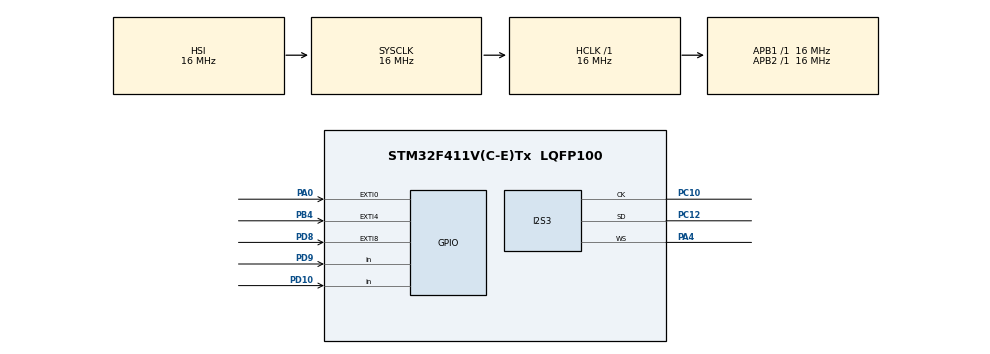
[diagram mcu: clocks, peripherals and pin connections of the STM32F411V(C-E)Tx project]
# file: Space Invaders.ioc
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Dma.Request0=SPI3_TX
Dma.SPI3_TX.0.Direction=DMA_MEMORY_TO_PERIPH
Dma.SPI3_TX.0.FIFOMode=DMA_FIFOMODE_DISABLE
Dma.SPI3_TX.0.Instance=DMA1_Stream5
Dma.SPI3_TX.0.MemDataAlignment=DMA_MDATAALIGN_HALFWORD
Dma.SPI3_TX.0.MemInc=DMA_MINC_ENABLE
Dma.SPI3_TX.0.Mode=DMA_NORMAL
Dma.SPI3_TX.0.PeriphDataAlignment=DMA_PDATAALIGN_HALFWORD
Dma.SPI3_TX.0.PeriphInc=DMA_PINC_DISABLE
Dma.SPI3_TX.0.Priority=DMA_PRIORITY_LOW
I2S3.ErrorAudioFreq=0.0 %
I2S3.FullDuplexMode=I2S_FULLDUPLEXMODE_DISABLE
I2S3.Instance=SPI$Index
I2S3.RealAudioFreq=8.0 KHz
I2S3.VirtualMode=I2S_MODE_MASTER
Mcu.Family=STM32F4
Mcu.Name=STM32F411V(C-E)Tx
Mcu.Package=LQFP100
NVIC.DMA1_Stream5_IRQn=true\:0\:0\:false\:false\:true\:false\:true
NVIC.EXTI0_IRQn=true\:0\:0\:false\:false\:true\:true\:true
NVIC.EXTI4_IRQn=true\:0\:0\:false\:false\:true\:true\:true
NVIC.EXTI9_5_IRQn=true\:0\:0\:false\:false\:true\:true\:true
NVIC.PriorityGroup=NVIC_PRIORITYGROUP_4
PA0-WKUP.Signal=GPXTI0
PA4.Mode=Half_Duplex_Master
PA4.Signal=I2S3_WS
PB4.Signal=GPXTI4
PC10.Mode=Half_Duplex_Master
PC10.Signal=I2S3_CK
PC12.Mode=Half_Duplex_Master
PC12.Signal=I2S3_SD
PD10.Signal=GPIO_Input
PD8.Signal=GPXTI8
PD9.Signal=GPIO_Input
ProjectManager.HeapSize=0x200
ProjectManager.StackSize=0x400
ProjectManager.TargetToolchain=STM32CubeIDE
RCC.AHBFreq_Value=16000000
RCC.APB1Freq_Value=16000000
RCC.APB2Freq_Value=16000000
RCC.CortexFreq_Value=16000000
RCC.HSE_VALUE=25000000
RCC.HSI_VALUE=16000000
RCC.LSE_VALUE=32768
RCC.SYSCLKFreq_VALUE=16000000
RCC.VCOOutputFreq_Value=192000000
board=custom

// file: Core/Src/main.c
/* USER CODE BEGIN Header */
/**
  ******************************************************************************
  * @file           : main.c
  * @brief          : Main program body
  ******************************************************************************
  * @attention
  *
  * <h2><center>&copy; Copyright (c) 2020 STMicroelectronics.
  * All rights reserved.</center></h2>
  *
  * This software component is licensed by ST under BSD 3-Clause license,
  * the "License"; You may not use this file except in compliance with the
  * License. You may obtain a copy of the License at:
  *                        opensource.org/licenses/BSD-3-Clause
  *
  ******************************************************************************
  */
/* USER CODE END Header */

#include "main.h"

/* USER CODE BEGIN Includes */
#include "Sprites.h"
#include "Sound.h"
/* USER CODE END Includes */

I2S_HandleTypeDef hi2s3;
DMA_HandleTypeDef hdma_spi3_tx;

/* USER CODE BEGIN PV */

enum State {
	INTRO_SCREEN,
	RESET_LEVEL1,
	LEVEL_1,
	WIN,
	LOSE
};

enum State gameStatus;

int highScore = 0;
int playerScore = 0;

volatile uint8_t refresh = 0;
volatile uint8_t player_fire = 0;
volatile uint8_t continue_input = 0;

int ship_x, ship_y = 0;
int ship_px, ship_py = 0;
int ship_health = 1;

int player_missile_xpos[3];
int player_missile_ypos[3];
int player_missile_prev_xpos[3];
int player_missile_prev_ypos[3];
int player_missile_status[3] = {0};

int barrier_x_pos[3] = {0};
int barrier_y_pos[3] = {0};
int barrier_health[3] = {0};

int invader1_xpos[4][6] = {0};
int invader1_ypos[4][6] = {0};
int invader1_prev_xpos[4][6] = {0};
int invader1_prev_ypos[4][6] = {0};
int invader1_status[4][6] = {0};
int row_to_move = 3;
int inv1_direction = 1;
int all_invader1_alive = 1; // 1: all alive; 0: all dead
int total_inv1_left = 4*6;

int invader1_fire_sequence[] = {
20, 4, 10, 9, 23, 6, 16, 22, 12,
11, 3, 6, 17, 8, 23, 7, 22, 12, 16,
22, 17, 6, 22, 22, 4, 2, 17, 13, 3,
12, 12, 10, 3, 6, 14, 19, 22, 5, 8,
7, 16, 23, 5, 0, 8, 23, 9, 15, 19, 9,
5, 21, 8, 4, 15, 3, 10, 21, 5, 3, 1,
19, 13, 10, 18, 22, 21, 15, 16, 14, 21,
5, 10, 4, 15, 4, 4, 20, 17, 17, 10, 10,
17, 7, 1, 3, 6, 4, 15, 0, 14, 17, 8, 9,
15, 21
};
int invader1_fire_index = 0;
int invader1_missile_xpos[6];
int invader1_missile_ypos[6];
int invader1_missile_prev_xpos[6];
int invader1_missile_prev_ypos[6];
int invader1_missile_status[6] = {0};

uint32_t ctr_lastcheck = 0;
uint32_t ctr_invader1_lastcheck = 0;
uint32_t ctr_invader1_fire = 0;

int inv1_x_pos_to_explode[3] = {0};
int inv1_y_pos_to_explode[3] = {0};
int inv1_explode_phase[3] = {0};

/* USER CODE END PV */

void SystemClock_Config(void);
static void MX_GPIO_Init(void);
static void MX_DMA_Init(void);
static void MX_I2S3_Init(void);
/* USER CODE BEGIN PFP */
void displayIntroScreen();
void displayGameOver();
void displayint(uint16_t val, uint32_t* screenptr);
void clearscreen();
void updatescreen();
void updatePlayerMissileStatus(int missile_index);
void updateEnemyMissileStatus(int missile_index);
void explodeInvader1();
/* USER CODE END PFP */

/* USER CODE BEGIN 0 */
void displayIntroScreen()
{

	// Intro Screen
	/*
	uint8_t* title_screen = (uint8_t*) Title_Screen;
	uint8_t* screenptr = (uint8_t*) (0x20020000 + 40*320 + 37);
	for (int i = 0; i < 31; ++i) {
		for (int j = 0; j < 245; ++j) {
			*screenptr++ = *title_screen++;
		}
		screenptr += 75;
	}
	*/

	// Intro Screen
	uint8_t* title_screen = (uint8_t*) Title_Screen;
	uint8_t* screenptr = (uint8_t*) (0x20020000 + 40*320 + 37);
	for (int i = 0; i < 31; ++i) {
		for (int j = 0; j < 245; ++j) {
			*screenptr++ = *title_screen++;
		}
		screenptr += 75;
	}

	uint8_t* title_instuction = (uint8_t*) Title_Instruction;
	screenptr = (uint8_t*) (0x20020000 + 100*320 + 64);
	for (int i = 0; i < 16; ++i) {
		for (int j = 0; j < 191; ++j) {
			*screenptr++ = *title_instuction++;
		}
		screenptr += 129;
	}

	while (continue_input != 1);
	continue_input = 0;

	gameStatus = RESET_LEVEL1;
	clearscreen();

	return;
}

void displayGameOver()
{
	clearscreen();

	uint8_t* screenptr = (uint8_t*) (0x20020000 + 40*320 + 38);
	uint8_t* game_over = (uint8_t*) Game_Over;

	for (int i = 0; i < 46; ++i) {
		for (int j = 0; j < 244; ++j) {
			*screenptr++ = *game_over++;
		}
		screenptr += 76;
	}

	uint8_t* title_instuction = (uint8_t*) Title_Instruction;
	screenptr = (uint8_t*) (0x20020000 + 150*320 + 64);
	for (int i = 0; i < 16; ++i) {
		for (int j = 0; j < 191; ++j) {
			*screenptr++ = *title_instuction++;
		}
		screenptr += 129;
	}

	while (continue_input != 1);
	continue_input = 0;

	gameStatus = RESET_LEVEL1;
	clearscreen();

	return;
}

void clearscreen()
{
	uint32_t* ptrscreen = (uint32_t*)0x20020000;
	for (int i = 0; i < 16000; ++i) {
		*ptrscreen++ = 0;
	}

	// copy title sprite
	uint32_t* titleptr = (uint32_t*)title;
	ptrscreen = (uint32_t*)0x20020000;
	for (int i = 0; i < 1600; i++)
	{
		*ptrscreen++ = *titleptr++;
	}

	displayint(highScore, (uint32_t*)(0x200204E0));
	displayint(playerScore, (uint32_t*)(0x20020418));

	return;
}

void displayint(uint16_t val, uint32_t* screenptr)
{
	uint8_t digit = 0;
	uint32_t* digitptr;
	uint32_t* scrcopyptr;
	for (int i = 0; i < 5; i++)
	{
		digit = val % 10;
		val /= 10;

		scrcopyptr = screenptr;
		digitptr = (uint32_t*)(digits + (digit << 3));
		for (int i = 0; i < 9; i++)
		{
			for (int j = 0; j < 2; j++)
			{
				*scrcopyptr++ = *digitptr++;
			}
			digitptr += 18;
			scrcopyptr += 78;

		}
		screenptr -= 2;
	}
}

void updatescreen()
{
	uint8_t* ptrscreen;

	// Erase Previous Ship
	ptrscreen = (uint8_t*)(0x20020000 + ship_py*320 + ship_px);
	for (int i = 0; i < 8; i++) {
		for (int j = 0; j < 12; j++) {
			*ptrscreen++ = 0;
		}
		ptrscreen += 308;
	}

	// Draw New Ship
	ptrscreen = (uint8_t*)(0x20020000 + ship_y*320 + ship_x);
	uint8_t* ptrsrc = (uint8_t*) Ship;
	for (int i = 0; i < 8; i++) {
		for (int j = 0; j < 12; j++) {
			*ptrscreen++ = *ptrsrc++;
		}
		ptrscreen += 308;
	}

	// Erase broken barriers
	for (int barrier_index = 0; barrier_index < 3; ++barrier_index) {
		if (barrier_health[barrier_index] == 0) {
			ptrscreen = (uint8_t*) (0x20020000 + barrier_y_pos[barrier_index]*320 + barrier_x_pos[barrier_index]);
			for (int i = 0; i < 5; ++i) {
				for (int j = 0; j < 22; ++j) {
					*ptrscreen++ = 0;
				}
				ptrscreen += 298;
			}
		}

	}

	// Draw Barriers
	for (int barrier_index = 0; barrier_index < 3; ++barrier_index) {
		if (barrier_health[barrier_index] > 0) {
			ptrscreen = (uint8_t*) (0x20020000 + barrier_y_pos[barrier_index]*320 + barrier_x_pos[barrier_index]);
			ptrsrc = (uint8_t*) Barrier;
			for (int i = 0; i < 5; ++i) {
				for (int j = 0; j < 22; ++j) {
					*ptrscreen++ = *ptrsrc++;
				}
				ptrscreen += 298;
			}
		}

	}

	// Erase Previous Invader 1 Positions
	for (int row = 0; row < 4; row++) {
		for (int col = 0; col < 6; col++) {
				ptrscreen = (uint8_t*)(0x20020000 +invader1_prev_ypos[row][col]*320 + invader1_prev_xpos[row][col]);
				for (int i = 0; i < 8; i++) {
					for (int j = 0; j < 22; j++) {
						*ptrscreen++ = 0;
					}
					ptrscreen += 298;
				}

		}
	}

	// Draw New Invader 1 Positions
	for (int row = 0; row < 4; row++) {
		for (int col = 0; col < 6; col++) {
			if (invader1_status[row][col] == 1) {
				ptrscreen = (uint8_t*)(0x20020000 +invader1_ypos[row][col]*320 + invader1_xpos[row][col]);
				ptrsrc = (uint8_t*) Invader1;
				for (int i = 0; i < 8; i++) {
					for (int j = 0; j < 12; j++) {
						*ptrscreen++ = *ptrsrc++;
					}
					ptrscreen += 308;
				}
			}
		}
	}

	// Erase Previous Player Missile Positions
	for (int missile_index = 0; missile_index < 3; ++missile_index) {
		ptrscreen = (uint8_t*)(0x20020000 + player_missile_prev_ypos[missile_index]*320 + player_missile_prev_xpos[missile_index]);
		for (int i = 0; i < 4; i++) {
			for (int j = 0; j < 1; j++) {
				*ptrscreen++ = 0;
			}
			ptrscreen += 319;
		}
	}

	// Display Player Missile
	for (int m = 0; m < 3; ++m) {
		if (player_missile_status[m] == 1) {
			ptrscreen = (uint8_t*)(0x20020000 + player_missile_ypos[m]*320 + player_missile_xpos[m]);
			ptrsrc = (uint8_t*)  Missile_Green;
			for (int i = 0; i < 4; ++i) {
				for (int j = 0; j < 1; ++j) {
					*ptrscreen++ = *ptrsrc++;
				}
				ptrscreen += 319;
			}
		}
	}

	// Erase Previous Invader 1 Missile Positions
	for (int missile_index = 0; missile_index < 6; ++missile_index) {
		if (invader1_missile_status[missile_index] == 1) {
			ptrscreen = (uint8_t*)(0x20020000 + invader1_missile_prev_ypos[missile_index]*320 + invader1_missile_prev_xpos[missile_index]);
			for (int i = 0; i < 4; ++i) {
				for (int j = 0; j < 1; ++j) {
					*ptrscreen++ = 0;
				}
				ptrscreen += 319;
			}
		}
	}

	// Display Invader 1 Missile
	for (int missile_index = 0; missile_index < 6; ++missile_index) {
		if (invader1_missile_status[missile_index] == 1) {
			ptrscreen = (uint8_t*)(0x20020000 + invader1_missile_ypos[missile_index]*320 + invader1_missile_xpos[missile_index]);
			ptrsrc = (uint8_t*) Missile_Red;
			for (int i = 0; i < 4; ++i) {
				for (int j = 0; j < 1; ++j) {
					*ptrscreen++ = *ptrsrc++;
				}
				ptrscreen += 319;
			}
		}
	}

	// Display explosions
	explodeInvader1();

	displayint(playerScore, (uint32_t*)(0x20020418));
}

void updatePlayerMissileStatus(int missile_index)
{
	int pos_x = player_missile_prev_xpos[missile_index];
	int pos_y = player_missile_prev_ypos[missile_index];

	// Check if missile is out of bounds
	if (player_missile_ypos[missile_index] <= 15) {
		player_missile_status[missile_index] = 0;
		uint8_t* ptrscreen = (uint8_t*)(0x20020000 + pos_y*320 + pos_x);
		for (int i = 0; i < 4; i++) {
			for (int j = 0; j < 1; j++) {
				*ptrscreen++ = 0;
			}
			ptrscreen += 319;
		}
		return;
	}

	/// Player Missile and Barrier Collision
	for (int barrier_index = 0; barrier_index < 3; ++barrier_index) {
		if (barrier_health[barrier_index] > 0) {
			if ( (barrier_x_pos[barrier_index] + 22 >= pos_x) && (barrier_x_pos[barrier_index] <= pos_x + 2) && (barrier_y_pos[barrier_index] + 3 >= pos_y) && (barrier_y_pos[barrier_index] <= pos_y) ) {
				--barrier_health[barrier_index];
				player_missile_status[missile_index] = 0;
				return;
			}
		}
	}

	/// Check for player missile and enemy collision
	// Loop through enemy positions to check if one is hit
	int inv_pos_x;
	int inv_pos_y;
	int inv_w = 12;
	int inv_h = 8;
	int inv_r, inv_c, inv_hit = 0;
	for (int row = 0; row < 4; ++row) {
		for (int col = 0; col < 6; ++col) {
			if (invader1_status[row][col] == 0) {
				continue;
			}
			inv_pos_x = invader1_prev_xpos[row][col];
			inv_pos_y = invader1_prev_ypos[row][col];

			if ( ((inv_pos_x + inv_w) >= pos_x) && (inv_pos_x <= pos_x + 2) && ((inv_pos_y + inv_h) >= pos_y) && (inv_pos_y <= pos_y) ) {
				inv_hit = 1;
				inv_r = row;
				inv_c = col;
				break;
			}

		}
	}

	if (inv_hit == 1) {
		--total_inv1_left;
		if (total_inv1_left > 0) {
			HAL_I2S_Transmit_DMA(&hi2s3, (uint16_t*) audio_explode, AUDIOLEN_EXPLODE);
		}

		playerScore += 10;
		player_missile_status[missile_index] = 0;
		invader1_status[inv_r][inv_c] = 0;

		inv_pos_x = invader1_prev_xpos[inv_r][inv_c];
		inv_pos_y = invader1_prev_ypos[inv_r][inv_c];

		// Erase missile and enemy
		uint8_t* ptrscreen = (uint8_t*)(0x20020000 + pos_y*320 + pos_x);
		for (int i = 0; i < 4; i++) {
			for (int j = 0; j < 1; j++) {
				*ptrscreen++ = 0;
			}
			ptrscreen += 319;
		}

		ptrscreen = (uint8_t*)(0x20020000 + inv_pos_y*320 + inv_pos_x);
		for (int i = 0; i < 8; i++) {
			for (int j = 0; j < 12; j++) {
				*ptrscreen++ = 0;
			}
			ptrscreen += 308;
		}

		// Find an open explosion index and assign explode coordinates
		for (int explode_index = 0; explode_index < 3; ++explode_index) {
			if (inv1_explode_phase[explode_index] == 0){
				inv1_explode_phase[explode_index] = 1;

				int explode_x_pos = inv_pos_x - 10;
				int explode_y_pos = inv_pos_y - 12;

				// Cap explosion coordinates to the screen
				if (explode_x_pos <= 0) explode_x_pos = 0;
				if (explode_x_pos >= 288) explode_x_pos = 288;
				if (explode_y_pos >= 167) explode_y_pos = 167;
				if (explode_y_pos <= 0) explode_y_pos = 0;

				inv1_x_pos_to_explode[explode_index] = explode_x_pos;
				inv1_y_pos_to_explode[explode_index] = explode_y_pos;
				break;
			}
		}

	}

	return;
}

void updateEnemyMissileStatus(int missile_index)
{

	int pos_x = invader1_missile_xpos[missile_index];
	int pos_y = invader1_missile_ypos[missile_index];

	if (pos_y >= 200) { // out of bounds and erase
		invader1_missile_status[missile_index] = 0;
		uint8_t* ptrscreen = (uint8_t*)(0x20020000 + invader1_missile_prev_ypos[missile_index]*320 + invader1_missile_prev_xpos[missile_index]);
		for (int i = 0; i < 4; ++i) {
			for (int j = 0; j < 1; ++j) {
				*ptrscreen++ = 0;
			}
			ptrscreen += 319;
		}
		return;
	}

	/// Enemy Missile and Barrier Collision
	for (int barrier_index = 0; barrier_index < 3; ++barrier_index) {
		if (barrier_health[barrier_index] > 0) {
			if ( (barrier_x_pos[barrier_index] + 22 >= pos_x) && (barrier_x_pos[barrier_index] <= pos_x + 2) && (barrier_y_pos[barrier_index] + 3 >= pos_y) && (barrier_y_pos[barrier_index] <= pos_y) ) {
				--barrier_health[barrier_index];
				invader1_missile_status[missile_index] = 0;
				return;
			}
		}
	}

	/// Check if missile hit player ship
	if ((ship_x + 12 >= pos_x) && (ship_x <= pos_x + 1) && (ship_y + 8 >= pos_y) && (ship_y <= pos_y + 1)) { // Player Ship Hit
		--ship_health;
		if (ship_health <= 0) {
			gameStatus = LOSE;
			HAL_I2S_Transmit_DMA(&hi2s3, (uint16_t*) boop_2, AUDIOLEN_BOOP_2);
		}
		return;
	}

	return;
}

void explodeInvader1()
{
	for (int explode_index = 0; explode_index < 3; ++explode_index) {

			uint8_t* screenptr = (uint8_t*) (0x20020000 + inv1_y_pos_to_explode[explode_index]*320 + inv1_x_pos_to_explode[explode_index]);
			uint8_t* explode_sprite = 0;

			// Erase explosion if sequence was complete and set explode_phase to 0
			if (inv1_explode_phase[explode_index] == 8) {

				for (int i = 0; i < 32; ++i) {
					for (int j = 0; j < 32; ++j) {
						*screenptr++ = 0;
					}
					screenptr += 288;
				}
				inv1_explode_phase[explode_index] = 0;
				inv1_x_pos_to_explode[explode_index] = 0;
				inv1_y_pos_to_explode[explode_index] = 0;
			}

			// Find the right explode sprite
			switch (inv1_explode_phase[explode_index]) {
				case 1:
					explode_sprite = (uint8_t*) explode1;
					break;
				case 2:
					explode_sprite = (uint8_t*) explode2;
					break;
				case 3:
					explode_sprite = (uint8_t*) explode3;
					break;
				case 4:
					explode_sprite = (uint8_t*) explode4;
					break;
				case 5:
					explode_sprite = (uint8_t*) explode5;
					break;
				case 6:
					explode_sprite = (uint8_t*) explode6;
					break;
				case 7:
					explode_sprite = (uint8_t*) explode7;
					break;
			}
			if (inv1_explode_phase[explode_index] != 0) {
				for (int i = 0; i < 32; ++i) {
					for (int j = 0; j < 32; ++j) {
						*screenptr++ = *explode_sprite++;
					}
					screenptr += 288;
				}
				inv1_explode_phase[explode_index]++;
			}

	}
	return;
}

/* USER CODE END 0 */

int main(void)
{

  /* MCU Configuration--------------------------------------------------------*/

  /* Reset of all peripherals, Initializes the Flash interface and the Systick. */
  HAL_Init();

  /* Configure the system clock */
  SystemClock_Config();

  /* Initialize all configured peripherals */
  MX_GPIO_Init();
  MX_DMA_Init();
  MX_I2S3_Init();
  /* USER CODE BEGIN 2 */

  ship_x = 154;
  ship_y = 192;
  ship_px = ship_x;
  ship_py = ship_y;

  // Initialize Invader 1 position and status
  for (int r = 0; r < 4; r++) {
	  for (int c = 0; c < 6; c++) {
		  invader1_status[r][c] = 1;
		  invader1_xpos[r][c] = 80 + c*30;
		  invader1_ypos[r][c] = 50 + r*20;
		  invader1_prev_xpos[r][c] = invader1_xpos[r][c];
		  invader1_prev_ypos[r][c] = invader1_ypos[r][c];
	  }
  }

  gameStatus = INTRO_SCREEN;

  /* USER CODE END 2 */

  /* Infinite loop */
  /* USER CODE BEGIN WHILE */
  while (1)
  {
	  /// Display Intro Screen
	  if (gameStatus == INTRO_SCREEN) {
		  displayIntroScreen();
	  }

	  /// Lost Game
	  if (gameStatus == LOSE) {
		  if (playerScore >= highScore) {
			  highScore = playerScore;
		  }
		  playerScore = 0;

		  displayGameOver();
		  gameStatus = RESET_LEVEL1;
	  }

	  /// Reset Game
	  if (gameStatus == RESET_LEVEL1) {

		  total_inv1_left = 4*6;

		  // Initialize Invader 1 position and status
		  all_invader1_alive = 1;
		  for (int r = 0; r < 4; r++) {
			  for (int c = 0; c < 6; c++) {
				  invader1_status[r][c] = 1;
				  invader1_xpos[r][c] = 80 + c*30;
				  invader1_ypos[r][c] = 50 + r*20;
				  invader1_prev_xpos[r][c] = invader1_xpos[r][c];
				  invader1_prev_ypos[r][c] = invader1_ypos[r][c];
			  }
		  }

		  // Reset Player Missiles
		  for (int missile_index = 0; missile_index < 3; ++missile_index) {
			player_missile_status[missile_index] = 0;
		  }
		  // Reset Invader 1 Missiles
		  for (int missile_index = 0; missile_index < 6; ++missile_index) {
			invader1_missile_status[missile_index] = 0;
		  }

		  // Reset and initialize barriers
		  for (int barrier_index = 0; barrier_index < 3; ++barrier_index) {
			barrier_health[barrier_index] = 4;
			barrier_x_pos[barrier_index] = 60 + barrier_index*80;
			barrier_y_pos[barrier_index] = 160;
		  }

		  gameStatus = LEVEL_1;
		  clearscreen();
	  }

	  /// Level 1
	  if (gameStatus == LEVEL_1) {
		if (continue_input != 0) continue_input = 0; // In case continue input was accidentally set.

		if (refresh==1) { // refresh interrupt was triggered
		  updatescreen();

		  // Save player previous position
		  ship_px = ship_x;
		  ship_py = ship_y;

		  // Save enemy invader 1 previous position
		  for (int r = 0; r < 4; r++) {
			  for (int c = 0; c < 6; c++) {
				  invader1_prev_xpos[r][c] = invader1_xpos[r][c];
				  invader1_prev_ypos[r][c] = invader1_ypos[r][c];
			  }
		  }

		  // Save player missiles previous position
		  for (int missile_index = 0; missile_index < 3; ++missile_index) {
			if (player_missile_status[missile_index] == 1) {
				player_missile_prev_xpos[missile_index] = player_missile_xpos[missile_index];
				player_missile_prev_ypos[missile_index] = player_missile_ypos[missile_index];
			}
		  }

		  // Save enemy missiles previous position
		  for (int missile_index = 0; missile_index < 6; ++missile_index) {
			if (invader1_missile_status[missile_index] == 1) {
				invader1_missile_prev_xpos[missile_index] = invader1_missile_xpos[missile_index];
				invader1_missile_prev_ypos[missile_index] = invader1_missile_ypos[missile_index];
			}
		  }

		  refresh = 0;
		} // Refresh triggered

		// Move player ship, player missiles and enemy missiles
		if (HAL_GetTick() - ctr_lastcheck >= 1) {
			if ((ship_x < 308) && HAL_GPIO_ReadPin(GPIOD, GPIO_PIN_9)) { // Right
				ship_x++;
			}
			else if ((ship_x > 0) && HAL_GPIO_ReadPin(GPIOD, GPIO_PIN_10)) { // Left
				ship_x--;
			}

			// Move the fired player missiles
			for (int missile_index = 0; missile_index < 3; ++missile_index) {
				if (player_missile_status[missile_index] == 1) {
					player_missile_ypos[missile_index]--;
					updatePlayerMissileStatus(missile_index);
				}
			}

			// Move fired enemy missiles
			for (int missile_index = 0; missile_index < 6; ++missile_index) {
				if (invader1_missile_status[missile_index] == 1) {
					invader1_missile_ypos[missile_index]++;
					updateEnemyMissileStatus(missile_index);
				}
			}

			ctr_lastcheck = HAL_GetTick();
		}

		// Move Invader 1
		if (HAL_GetTick() - ctr_invader1_lastcheck >= 16) {

			if (row_to_move < 0) {
				row_to_move = 3;
			}
			for (int col = 0; col < 6; col++) {
				if (inv1_direction == 1) {
					invader1_xpos[row_to_move][col] += 4;
				}
				else if (inv1_direction == 0) {
					invader1_xpos[row_to_move][col] -= 4;
				}
			}
			row_to_move--;

			if (invader1_xpos[0][5] > 304) { // move down at right side
				for (int row = 0; row < 4; row++) {
					for (int col = 0; col < 6; col++) {
						invader1_ypos[row][col] += 2;
					}
				}
				inv1_direction = 0;
			}
			else if (invader1_xpos[0][0] < 4) { // down at left side
				for (int row = 0; row < 4; ++row) {
					for (int col = 0; col < 6; ++col) {
						invader1_ypos[row][col] += 2;
					}
				}
				inv1_direction = 1;
			}

			ctr_invader1_lastcheck = HAL_GetTick();
		}

		// Player ship fired missile
		if (player_fire == 1) {
			// loop to find available missile
			for (int missile_index = 0; missile_index < 3; ++missile_index) {
				if (player_missile_status[missile_index] == 0) {
					HAL_I2S_Transmit_DMA(&hi2s3, (uint16_t*) pew, AUDIOLEN_PEW);
					player_missile_status[missile_index] = 1;
					player_missile_xpos[missile_index] = ship_x + 5;
					player_missile_ypos[missile_index] = ship_y - 4;
					break;
				}
			}

			player_fire = 0;
		}

		// Fire invader 1 missile
		if (HAL_GetTick() - ctr_invader1_fire >= 2) {
			for (int missile_index = 0; missile_index < 6; ++missile_index) {

				if (invader1_missile_status[missile_index] == 0) {
					if (invader1_fire_index > 95) {
						invader1_fire_index = 0;
					}
					int row = invader1_fire_sequence[invader1_fire_index] / 6;
					int col = invader1_fire_sequence[invader1_fire_index] % 6;
					invader1_fire_index++;
					if (invader1_status[row][col] == 1) {
						invader1_missile_status[missile_index] = 1;
						invader1_missile_xpos[missile_index] = invader1_xpos[row][col];
						invader1_missile_ypos[missile_index] = invader1_ypos[row][col];
					}
				}
				break;
			}
			ctr_invader1_fire = HAL_GetTick();
		}

		// Check if all Invader1 are dead
		all_invader1_alive = 0;
		for (int row = 0; row < 4; ++row) {
			for (int col = 0; col < 6; ++col) {
				if (invader1_status[row][col] == 1) {
					all_invader1_alive = 1;
				}
			}
			if (all_invader1_alive) {
				break;
			}
		}
		if (all_invader1_alive == 0) {
			HAL_I2S_Transmit_DMA(&hi2s3, (uint16_t*) great_success, AUDIOLEN_GREAT_SUCCESS);
			gameStatus = RESET_LEVEL1;
		}

	  } // end Level_1

    /* USER CODE END WHILE */

  }
}

void SystemClock_Config(void)
{
  RCC_OscInitTypeDef RCC_OscInitStruct = {0};
  RCC_ClkInitTypeDef RCC_ClkInitStruct = {0};
  RCC_PeriphCLKInitTypeDef PeriphClkInitStruct = {0};

  /** Macro to configure the PLL multiplication factor
  */
  __HAL_RCC_PLL_PLLM_CONFIG(16);
  /** Macro to configure the PLL clock source
  */
  __HAL_RCC_PLL_PLLSOURCE_CONFIG(RCC_PLLSOURCE_HSI);
  /** Configure the main internal regulator output voltage
  */
  __HAL_RCC_PWR_CLK_ENABLE();
  __HAL_PWR_VOLTAGESCALING_CONFIG(PWR_REGULATOR_VOLTAGE_SCALE1);
  /** Initializes the CPU, AHB and APB busses clocks
  */
  RCC_OscInitStruct.OscillatorType = RCC_OSCILLATORTYPE_HSI;
  RCC_OscInitStruct.HSIState = RCC_HSI_ON;
  RCC_OscInitStruct.HSICalibrationValue = RCC_HSICALIBRATION_DEFAULT;
  RCC_OscInitStruct.PLL.PLLState = RCC_PLL_NONE;
  RCC_OscInitStruct.PLL.PLLSource = RCC_PLLSOURCE_HSI;
  if (HAL_RCC_OscConfig(&RCC_OscInitStruct) != HAL_OK)
  {
    Error_Handler();
  }
  /** Initializes the CPU, AHB and APB busses clocks
  */
  RCC_ClkInitStruct.ClockType = RCC_CLOCKTYPE_HCLK|RCC_CLOCKTYPE_SYSCLK
                              |RCC_CLOCKTYPE_PCLK1|RCC_CLOCKTYPE_PCLK2;
  RCC_ClkInitStruct.SYSCLKSource = RCC_SYSCLKSOURCE_HSI;
  RCC_ClkInitStruct.AHBCLKDivider = RCC_SYSCLK_DIV1;
  RCC_ClkInitStruct.APB1CLKDivider = RCC_HCLK_DIV1;
  RCC_ClkInitStruct.APB2CLKDivider = RCC_HCLK_DIV1;

  if (HAL_RCC_ClockConfig(&RCC_ClkInitStruct, FLASH_LATENCY_0) != HAL_OK)
  {
    Error_Handler();
  }
  PeriphClkInitStruct.PeriphClockSelection = RCC_PERIPHCLK_I2S;
  PeriphClkInitStruct.PLLI2S.PLLI2SN = 192;
  PeriphClkInitStruct.PLLI2S.PLLI2SM = 16;
  PeriphClkInitStruct.PLLI2S.PLLI2SR = 2;
  if (HAL_RCCEx_PeriphCLKConfig(&PeriphClkInitStruct) != HAL_OK)
  {
    Error_Handler();
  }
}

static void MX_I2S3_Init(void)
{

  hi2s3.Instance = SPI3;
  hi2s3.Init.Mode = I2S_MODE_MASTER_TX;
  hi2s3.Init.Standard = I2S_STANDARD_PHILIPS;
  hi2s3.Init.DataFormat = I2S_DATAFORMAT_16B;
  hi2s3.Init.MCLKOutput = I2S_MCLKOUTPUT_DISABLE;
  hi2s3.Init.AudioFreq = I2S_AUDIOFREQ_8K;
  hi2s3.Init.CPOL = I2S_CPOL_LOW;
  hi2s3.Init.ClockSource = I2S_CLOCK_PLL;
  hi2s3.Init.FullDuplexMode = I2S_FULLDUPLEXMODE_DISABLE;
  if (HAL_I2S_Init(&hi2s3) != HAL_OK)
  {
    Error_Handler();
  }

}

static void MX_DMA_Init(void)
{

  /* DMA controller clock enable */
  __HAL_RCC_DMA1_CLK_ENABLE();

  /* DMA interrupt init */
  /* DMA1_Stream5_IRQn interrupt configuration */
  HAL_NVIC_SetPriority(DMA1_Stream5_IRQn, 0, 0);
  HAL_NVIC_EnableIRQ(DMA1_Stream5_IRQn);

}

static void MX_GPIO_Init(void)
{
  GPIO_InitTypeDef GPIO_InitStruct = {0};

  /* GPIO Ports Clock Enable */
  __HAL_RCC_GPIOA_CLK_ENABLE();
  __HAL_RCC_GPIOD_CLK_ENABLE();
  __HAL_RCC_GPIOC_CLK_ENABLE();
  __HAL_RCC_GPIOB_CLK_ENABLE();

  /*Configure GPIO pin : PA0 */
  GPIO_InitStruct.Pin = GPIO_PIN_0;
  GPIO_InitStruct.Mode = GPIO_MODE_IT_RISING;
  GPIO_InitStruct.Pull = GPIO_NOPULL;
  HAL_GPIO_Init(GPIOA, &GPIO_InitStruct);

  /*Configure GPIO pin : PD8 */
  GPIO_InitStruct.Pin = GPIO_PIN_8;
  GPIO_InitStruct.Mode = GPIO_MODE_IT_RISING;
  GPIO_InitStruct.Pull = GPIO_NOPULL;
  HAL_GPIO_Init(GPIOD, &GPIO_InitStruct);

  /*Configure GPIO pins : PD9 PD10 */
  GPIO_InitStruct.Pin = GPIO_PIN_9|GPIO_PIN_10;
  GPIO_InitStruct.Mode = GPIO_MODE_INPUT;
  GPIO_InitStruct.Pull = GPIO_NOPULL;
  HAL_GPIO_Init(GPIOD, &GPIO_InitStruct);

  /*Configure GPIO pin : PB4 */
  GPIO_InitStruct.Pin = GPIO_PIN_4;
  GPIO_InitStruct.Mode = GPIO_MODE_IT_RISING;
  GPIO_InitStruct.Pull = GPIO_NOPULL;
  HAL_GPIO_Init(GPIOB, &GPIO_InitStruct);

  /* EXTI interrupt init*/
  HAL_NVIC_SetPriority(EXTI0_IRQn, 0, 0);
  HAL_NVIC_EnableIRQ(EXTI0_IRQn);

  HAL_NVIC_SetPriority(EXTI4_IRQn, 0, 0);
  HAL_NVIC_EnableIRQ(EXTI4_IRQn);

  HAL_NVIC_SetPriority(EXTI9_5_IRQn, 0, 0);
  HAL_NVIC_EnableIRQ(EXTI9_5_IRQn);

}

void Error_Handler(void)
{
}

/************************ (C) COPYRIGHT STMicroelectronics *****END OF FILE****/
